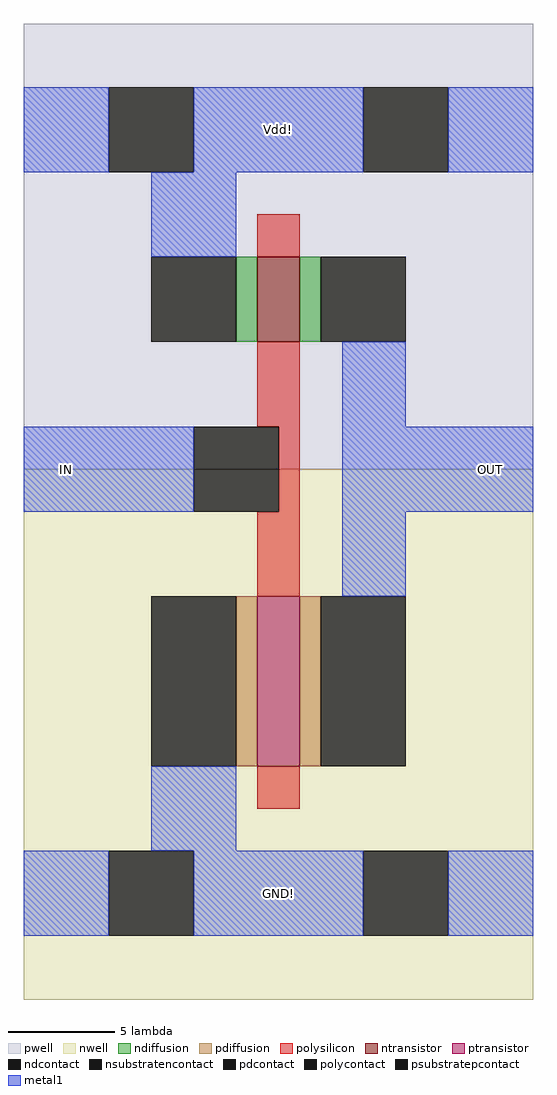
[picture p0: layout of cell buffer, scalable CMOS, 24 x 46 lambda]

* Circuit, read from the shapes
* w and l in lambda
.subckt buffer GND! IN OUT Vdd!
M1 OUT IN Vdd! Vdd! nfet w=4 l=2
M2 OUT IN GND! GND! pfet w=8 l=2
.ends

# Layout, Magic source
magic
tech scmos
<< nwell >>
rect 0 0 24 25
<< pwell >>
rect 0 25 24 46
<< ntransistor >>
rect 11 31 13 35
<< ptransistor >>
rect 11 11 13 19
<< ndiffusion >>
rect 10 31 11 35
rect 13 31 14 35
<< pdiffusion >>
rect 10 11 11 19
rect 13 11 14 19
<< ndcontact >>
rect 6 31 10 35
rect 14 31 18 35
<< pdcontact >>
rect 6 11 10 19
rect 14 11 18 19
<< psubstratepcontact >>
rect 4 39 8 43
rect 16 39 20 43
<< nsubstratencontact >>
rect 4 3 8 7
rect 16 3 20 7
<< polysilicon >>
rect 11 35 13 37
rect 11 27 13 31
rect 12 23 13 27
rect 11 19 13 23
rect 11 9 13 11
<< polycontact >>
rect 8 23 12 27
<< metal1 >>
rect 0 39 4 43
rect 8 39 16 43
rect 20 39 24 43
rect 6 35 10 39
rect 15 27 18 31
rect 0 23 8 27
rect 15 23 24 27
rect 15 19 18 23
rect 6 7 10 11
rect 0 3 4 7
rect 8 3 16 7
rect 20 3 24 7
<< labels >>
rlabel metal1 2 25 2 25 5 IN
rlabel metal1 22 25 22 25 5 OUT
rlabel metal1 12 5 12 5 1 GND!
rlabel metal1 12 41 12 41 1 Vdd!
<< end >>
